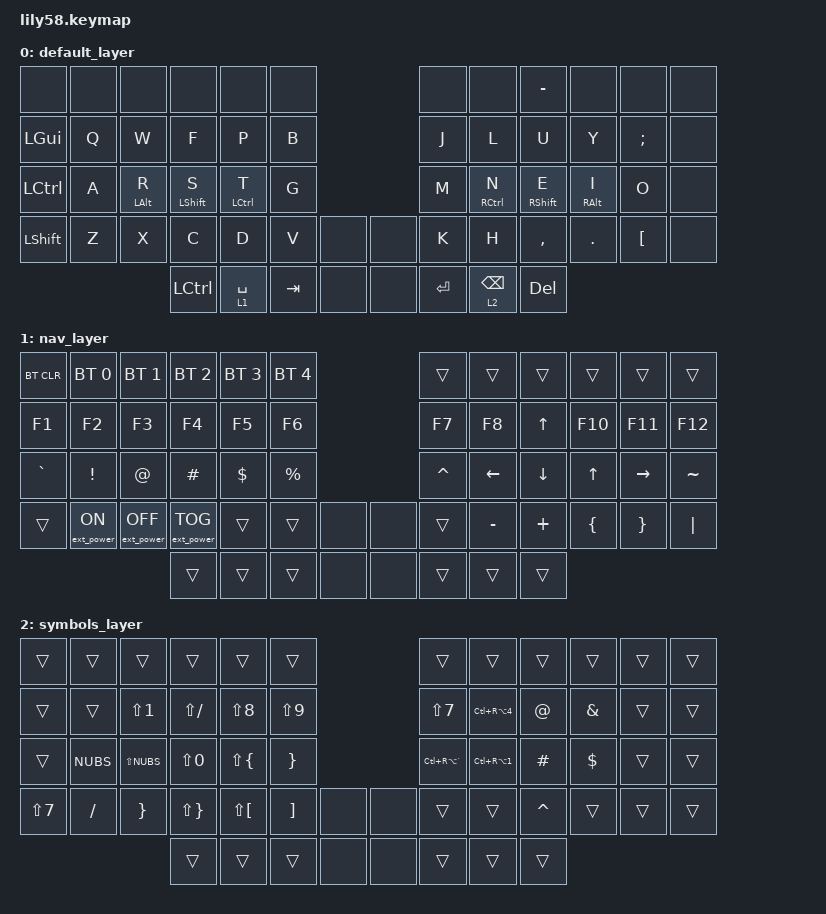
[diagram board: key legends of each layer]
/*
 * Copyright (c) 2020 The ZMK Contributors
 *
 * SPDX-License-Identifier: MIT
 */

#include <behaviors.dtsi>
#include <dt-bindings/zmk/keys.h>
#include <dt-bindings/zmk/bt.h>
#include <dt-bindings/zmk/ext_power.h>

/ {
    keymap {
        compatible = "zmk,keymap";

        default_layer {
// -----------------------------------------------------------------------------------------------------------------------------------------
// |         |     |          |           |           |        |               |       |           |           |          |             |     |
// |  GUI    |  Q  |    W     |   F       |    P      |   B    |               |   J   |     L     |    U      |    Y     |      ñ      |     |
// |  CTRL   |  A  | R *LALT  | S *LSHFT  | T *LCTRL  |   G    |               |   M   | N *RCTRL  | E *RSHFT  | I *RALT  |      O      |     |
// |  SHIFT  |  Z  |    X     |   C       |    D      |   V    |     |   |     |   K   |     H     |    ,      |    .     |      ´      |     |
//                            |  CTRL     |   SPC     |  TAB   |     |   |     | ENTER |   BSPC    |   DEL     |                                        
bindings = <                                                                                                                               
    &none     &none &none      &none       &none       &none                    &none   &none       &kp MINUS   &none      &none         &none
    &kp LGUI  &kp Q &kp W      &kp F       &kp P       &kp B                    &kp J   &kp L       &kp U       &kp Y      &kp SEMI      &none
    &kp LCTRL &kp A &mt LALT R &mt LSHFT S &mt LCTRL T &kp G                    &kp M   &mt RCTRL N &mt RSHFT E &mt RALT I &kp O         &none
    &kp LSHFT &kp Z &kp X      &kp C       &kp D       &kp V    &none     &none &kp K   &kp H       &kp COMMA    &kp DOT    &kp LBKT      &none
                               &kp LCTRL   &lt 1 SPACE &kp TAB  &none     &none &kp RET &lt 2 BSPC  &kp DEL
            >;
        };

        nav_layer {
// ------------------------------------------------------------------------------------------------------------
// | BTCLR | BT1 | BT2 |  BT3 |  BT4 |  BT5 |                   |      |       |       |      |       |       |
// |  F1   |  F2 |  F3 |  F4  |  F5  |  F6  |                   |  F7  |  F8   |  Up   |  F10 |  F11  |  F12  |
// |   `   |  !  |  @  |  #   |  $   |  %   |                   |  ^   | Left  |  Down |  Up  | Right |   ~   |
// |       |     |     |      |      |      |        |  |       |      |  _    |  +    |  {   |   }   |  "|"  |
//                     |      |      |      |        |  |       |      |       |       |
            bindings = <
&bt BT_CLR &bt BT_SEL 0     &bt BT_SEL 1      &bt BT_SEL 2      &bt BT_SEL 3 &bt BT_SEL 4                 &trans    &trans    &trans    &trans    &trans    &trans
&kp F1     &kp F2           &kp F3            &kp F4            &kp F5       &kp F6                       &kp F7    &kp F8    &kp UP    &kp F10   &kp F11   &kp F12
&kp GRAVE  &kp EXCL         &kp AT            &kp HASH          &kp DOLLAR   &kp PRCNT                    &kp CARET &kp LEFT  &kp DOWN  &kp UP    &kp RIGHT  &kp TILDE
&trans     &ext_power EP_ON &ext_power EP_OFF &ext_power EP_TOG &trans       &trans    &none     &none    &trans    &kp MINUS &kp PLUS  &kp LBRC  &kp RBRC  &kp PIPE
                                              &trans            &trans       &trans    &none     &none    &trans    &trans    &trans
            >;
        };

        symbols_layer {
// ---------------------------------------------------------------------------------------------------------------------------------------------------------------------
// |          |         |            |             |                |                |               |                 |              |         |        |      |      |
// |          |         |     !      |      _      |  (             |  )             |               |        /        |      ~       |    @    |   &    |      |      |
// |          |    <    |     >      |      =      |  {             |  }             |               |        \        |      |       |    #    |   $    |      |      |
// |    /     |    -    |     +      |      *      |  [             |  ]             |     |   |     |                 |              |    ^    |        |      |      |
//                                   |             |                |                |     |   |     |                 |              |         |                              
            bindings = <                                                                                                                                                
    &trans     &trans    &trans       &trans        &trans           &trans                           &trans            &trans         &trans    &trans   &trans &trans
    &trans     &trans    &kp LS(N1)   &kp LS(SLASH) &kp LS(N8)       &kp LS(N9)                       &kp LS(N7)        &kp LC(RA(N4)) &kp AT    &kp AMPS &trans &trans
    &trans     &kp NUBS  &kp LS(NUBS) &kp LS(N0)    &kp LS(LBRC)     &kp RBRC                         &kp LC(RA(GRAVE)) &kp LC(RA(N1)) &kp HASH  &kp DLLR &trans &trans
    &kp LS(N7) &kp SLASH &kp RBRC     &kp LS(RBRC)  &kp LS(LBKT)     &kp RBKT         &none     &none &trans            &trans         &kp CARET &trans   &trans &trans
                                      &trans        &trans           &trans           &none     &none &trans            &trans         &trans
            >;
        };
    };
};
